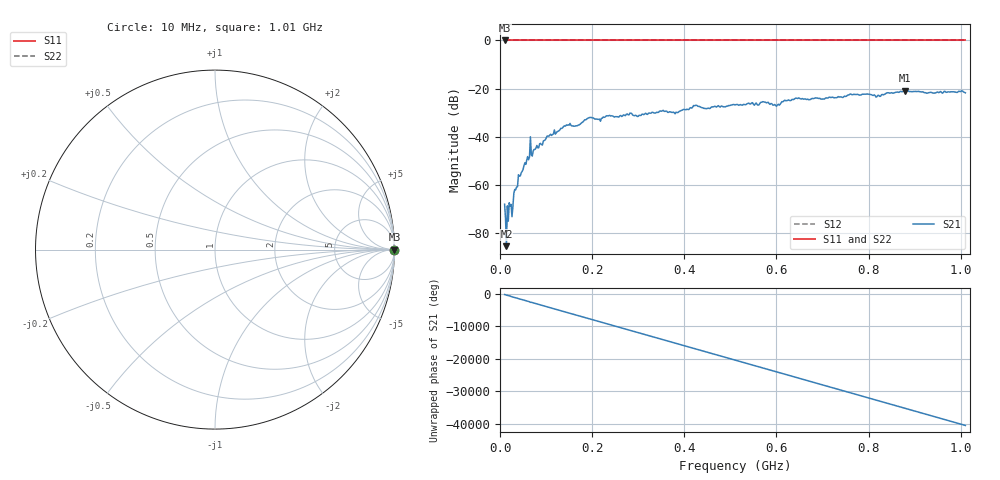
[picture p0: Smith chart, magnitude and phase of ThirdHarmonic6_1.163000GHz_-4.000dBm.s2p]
! 8/16/2025 11:40:47 AM
! C:\ANRITSUVNA\TEMP\TEMP.S2P
! CHANNEL.1
! TR.MEASUREMENT
! RAW.DATA
! RF.CORRECTION.OFF
! AVERAGING.OFF
! IF.BANDWIDTH: 5KHZ
! SWEEPTYPE:  FREQ.SWEEP(Linear)
! Reference Plane Port Info
! PORT:  PORT1  PORT2
! DISTANCE:  0  m  0  m
! TIME:  0  s  0  s
! PHASE.OFFSET:  0  deg.  0  deg.
! LOSS:  0  dB  0  dB
! REF.LOSS:  0  dB  0  dB
! REF.FREQ:  0  Hz  0  Hz
! Power Info
! POWER:  -20  dBm  -20  dBm
! EFF.POWER:  -20  dBm  -20  dBm
! SOURCE.ATTEN:  0  dB  0  dB
! TEST.ATTEN:  0  dB  0  dB
# GHZ S RI R 50.0
! FREQ.GHZ  S11RE  S11IM  S21RE  S21IM  S12RE  S12IM  S22RE  S22IM
!; PortSelection: Port_12
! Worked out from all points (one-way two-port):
!   501 points, 10 MHz to 1.01 GHz, reference 50 ohm
!   highest |S21| = -20.86 dB at 878 MHz (marker M1); lowest = -85.6 dB at 14 MHz (marker M2)
!   lowest |S11| = 0.0 dB at 10 MHz (marker M3)
!   |S11| at or under -10 dB: nowhere
!   |S22| runs from 0.0 to 0.0 dB; largest |S21 - S12| = 1.1
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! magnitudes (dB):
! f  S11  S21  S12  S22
! 10 MHz  0.0  -68.2  0.0  0.0
! 14 MHz  0.0  -85.6  0.0  0.0
! 20 MHz  0.0  -67.5  0.0  0.0
! 22 MHz  0.0  -69.0  0.0  0.0
! 26 MHz  0.0  -73.3  0.0  0.0
! 36 MHz  0.0  -61.0  0.0  0.0
! 60 MHz  0.0  -48.3  0.0  0.0
! 62 MHz  0.0  -49.6  0.0  0.0
! 140 MHz  0.0  -35.5  0.0  0.0
! 178 MHz  0.0  -34.1  0.0  0.0
! 194 MHz  0.0  -32.1  0.0  0.0
! 344 MHz  0.0  -29.9  0.0  0.0
! 382 MHz  0.0  -29.9  0.0  0.0
! 424 MHz  0.0  -27.1  0.0  0.0
! 510 MHz  0.0  -26.9  0.0  0.0
! 572 MHz  0.0  -25.5  0.0  0.0
! 602 MHz  0.0  -26.8  0.0  0.0
! 644 MHz  0.0  -24.0  0.0  0.0
! 678 MHz  0.0  -24.1  0.0  0.0
! 844 MHz  0.0  -21.8  0.0  0.0
! 878 MHz  0.0  -20.9  0.0  0.0
! 1.01 GHz  0.0  -21.8  0.0  0.0
